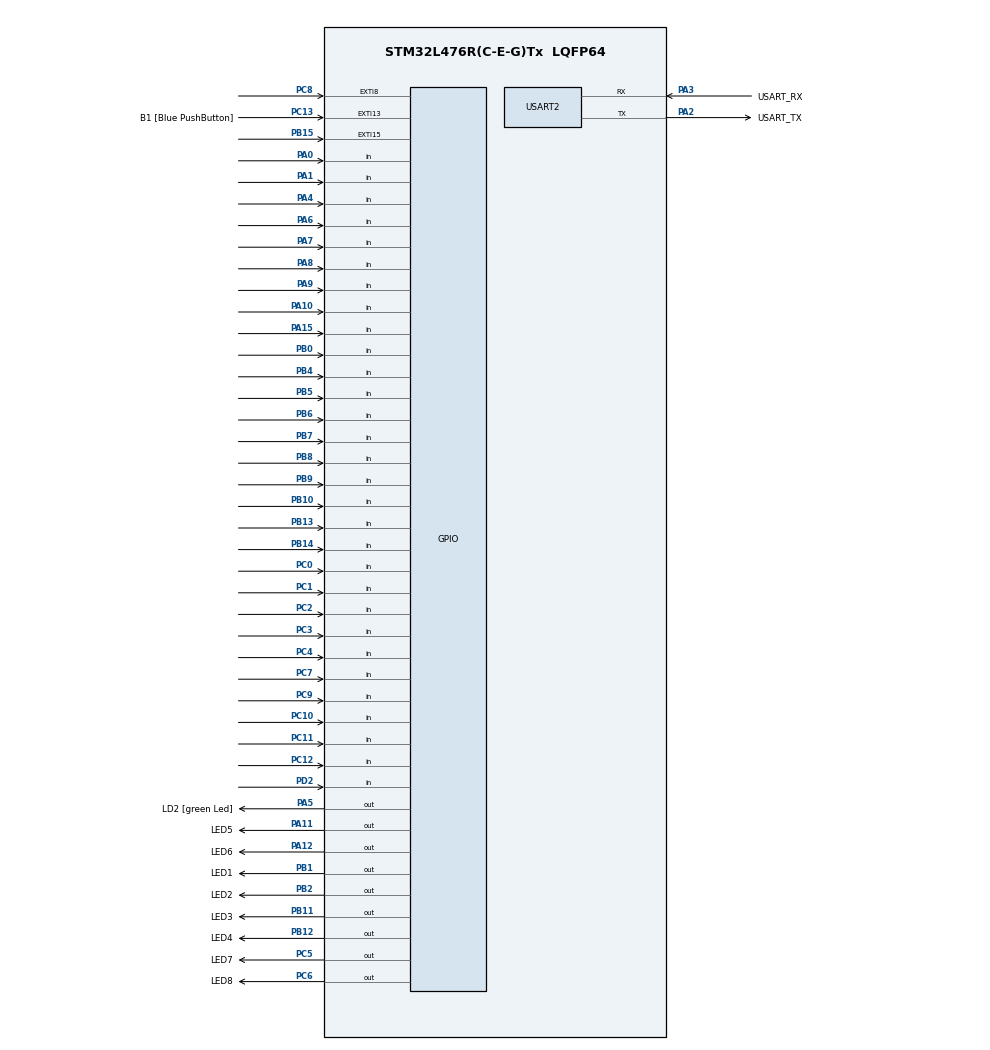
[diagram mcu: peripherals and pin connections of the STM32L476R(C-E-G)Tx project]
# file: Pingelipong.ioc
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Mcu.Family=STM32L4
Mcu.Name=STM32L476R(C-E-G)Tx
Mcu.Package=LQFP64
NVIC.EXTI15_10_IRQn=true\:0\:0\:false\:false\:true\:true\:true\:true
NVIC.EXTI9_5_IRQn=true\:0\:0\:false\:false\:true\:true\:true\:true
NVIC.PriorityGroup=NVIC_PRIORITYGROUP_4
PA0.Signal=GPIO_Input
PA1.Signal=GPIO_Input
PA10.Signal=GPIO_Input
PA11.GPIO_Label=LED5
PA11.Signal=GPIO_Output
PA12.GPIO_Label=LED6
PA12.Signal=GPIO_Output
PA13\ (JTMS-SWDIO).GPIO_Label=TMS
PA13\ (JTMS-SWDIO).Mode=Serial_Wire
PA13\ (JTMS-SWDIO).Signal=SYS_JTMS-SWDIO
PA14\ (JTCK-SWCLK).GPIO_Label=TCK
PA14\ (JTCK-SWCLK).Mode=Serial_Wire
PA14\ (JTCK-SWCLK).Signal=SYS_JTCK-SWCLK
PA15\ (JTDI).Signal=GPIO_Input
PA2.GPIO_Label=USART_TX
PA2.GPIO_Mode=GPIO_MODE_AF_PP
PA2.GPIO_PuPd=GPIO_NOPULL
PA2.GPIO_Speed=GPIO_SPEED_FREQ_VERY_HIGH
PA2.Mode=Asynchronous
PA2.Signal=USART2_TX
PA3.GPIO_Label=USART_RX
PA3.GPIO_Mode=GPIO_MODE_AF_PP
PA3.GPIO_PuPd=GPIO_NOPULL
PA3.GPIO_Speed=GPIO_SPEED_FREQ_VERY_HIGH
PA3.Mode=Asynchronous
PA3.Signal=USART2_RX
PA4.Signal=GPIO_Input
PA5.GPIO_Label=LD2 [green Led]
PA5.GPIO_ModeDefaultOutputPP=GPIO_MODE_OUTPUT_PP
PA5.GPIO_PuPd=GPIO_NOPULL
PA5.GPIO_Speed=GPIO_SPEED_FREQ_LOW
PA5.Signal=GPIO_Output
PA6.Signal=GPIO_Input
PA7.Signal=GPIO_Input
PA8.Signal=GPIO_Input
PA9.Signal=GPIO_Input
PB0.Signal=GPIO_Input
PB1.GPIO_Label=LED1
PB1.Signal=GPIO_Output
PB10.Signal=GPIO_Input
PB11.GPIO_Label=LED3
PB11.Signal=GPIO_Output
PB12.GPIO_Label=LED4
PB12.Signal=GPIO_Output
PB13.Signal=GPIO_Input
PB14.Signal=GPIO_Input
PB15.GPIO_ModeDefaultEXTI=GPIO_MODE_IT_FALLING
PB15.GPIO_PuPd=GPIO_PULLUP
PB15.Signal=GPXTI15
PB2.GPIO_Label=LED2
PB2.Signal=GPIO_Output
PB3\ (JTDO-TRACESWO).GPIO_Label=SWO
PB3\ (JTDO-TRACESWO).Signal=SYS_JTDO-SWO
PB4\ (NJTRST).Signal=GPIO_Input
PB5.Signal=GPIO_Input
PB6.Signal=GPIO_Input
PB7.Signal=GPIO_Input
PB8.Signal=GPIO_Input
PB9.Signal=GPIO_Input
PC0.Signal=GPIO_Input
PC1.Signal=GPIO_Input
PC10.Signal=GPIO_Input
PC11.Signal=GPIO_Input
PC12.Signal=GPIO_Input
PC13.GPIO_Label=B1 [Blue PushButton]
PC13.GPIO_ModeDefaultEXTI=GPIO_MODE_IT_FALLING
PC13.GPIO_PuPd=GPIO_NOPULL
PC13.Signal=GPXTI13
PC14-OSC32_IN\ (PC14).Mode=LSE-External-Oscillator
PC14-OSC32_IN\ (PC14).Signal=RCC_OSC32_IN
PC15-OSC32_OUT\ (PC15).Mode=LSE-External-Oscillator
PC15-OSC32_OUT\ (PC15).Signal=RCC_OSC32_OUT
PC2.Signal=GPIO_Input
PC3.Signal=GPIO_Input
PC4.Signal=GPIO_Input
PC5.GPIO_Label=LED7
PC5.Signal=GPIO_Output
PC6.GPIO_Label=LED8
PC6.Signal=GPIO_Output
PC7.Signal=GPIO_Input
PC8.GPIO_PuPd=GPIO_PULLUP
PC8.Signal=GPXTI8
PC9.Signal=GPIO_Input
PD2.Signal=GPIO_Input
PH0-OSC_IN\ (PH0).Signal=RCC_OSC_IN
PH1-OSC_OUT\ (PH1).Signal=RCC_OSC_OUT
ProjectManager.HeapSize=0x200
ProjectManager.StackSize=0x400
ProjectManager.TargetToolchain=STM32CubeIDE
RCC.ADCFreq_Value=64000000
RCC.AHBFreq_Value=80000000
RCC.APB1Freq_Value=80000000
RCC.APB1TimFreq_Value=80000000
RCC.APB2Freq_Value=80000000
RCC.APB2TimFreq_Value=80000000
RCC.CortexFreq_Value=80000000
RCC.HCLKFreq_Value=80000000
RCC.HSE_VALUE=8000000
RCC.HSI_VALUE=16000000
RCC.MSI_VALUE=4000000
RCC.PLLN=10
RCC.PLLSourceVirtual=RCC_PLLSOURCE_HSI
RCC.PREFETCH_ENABLE=1
RCC.SYSCLKFreq_VALUE=80000000
RCC.SYSCLKSource=RCC_SYSCLKSOURCE_PLLCLK
RCC.USBFreq_Value=64000000
RCC.VCOOutputFreq_Value=160000000
USART2.VirtualMode-Asynchronous=VM_ASYNC
board=NUCLEO-L476RG

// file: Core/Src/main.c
/* USER CODE BEGIN Header */
/**
  ******************************************************************************
  * @file           : main.c
  * @brief          : Main program body
  ******************************************************************************
  * @attention
  *
  * Copyright (c) 2025 STMicroelectronics.
  * All rights reserved.
  *
  * This software is licensed under terms that can be found in the LICENSE file
  * in the root directory of this software component.
  * If no LICENSE file comes with this software, it is provided AS-IS.
  *
  ******************************************************************************
  */
/* USER CODE END Header */
#include "main.h"
#include "usart.h"
#include "gpio.h"
#include "clock.h"
#include "Test.h"

/* USER CODE BEGIN PD */
#undef RUN_TEST_PROGRAM
#define USE_INTERRUPT_BUTTONS
/* USER CODE END PD */

void SystemClock_Config(void);

/* USER CODE BEGIN 0 */
#ifdef RUN_TEST_PROGRAM

extern void initialise_monitor_handles(void);
#endif
/* USER CODE END 0 */

int main(void)
{

  /* MCU Configuration--------------------------------------------------------*/

  /* Reset of all peripherals, Initializes the Flash interface and the Systick. */
  HAL_Init();

  /* Configure the system clock */
  SystemClock_Config();

  /* Initialize all configured peripherals */
  MX_GPIO_Init();
  MX_USART2_UART_Init();
  /* USER CODE BEGIN 2 */
#ifdef RUN_TEST_PROGRAM
    //initialise_monitor_handles();   // bara om du vill kunna printf:a i test
    Test_program();                 // <-- kör TEST-programmet
#else
    Pingpong();                     // <-- kör färdiga pingpongprogrammet
#endif
  /* USER CODE END 2 */

  /* Infinite loop */
  while (1)
  {

    /* USER CODE BEGIN 3 */

	    HAL_GPIO_WritePin(LED1_GPIO_Port, LED1_Pin, GPIO_PIN_SET);
	    HAL_Delay(200);
	    HAL_GPIO_WritePin(LED1_GPIO_Port, LED1_Pin, GPIO_PIN_RESET);
	    HAL_Delay(200);

	    HAL_GPIO_WritePin(LED2_GPIO_Port, LED2_Pin, GPIO_PIN_SET);
	    HAL_Delay(200);
	    HAL_GPIO_WritePin(LED2_GPIO_Port, LED2_Pin, GPIO_PIN_RESET);
	    HAL_Delay(200);

	    HAL_GPIO_WritePin(LED3_GPIO_Port, LED3_Pin, GPIO_PIN_SET);
	    HAL_Delay(200);
	    HAL_GPIO_WritePin(LED3_GPIO_Port, LED3_Pin, GPIO_PIN_RESET);
	    HAL_Delay(200);

  }
  /* USER CODE END 3 */
}

//void SystemClock_Config(void)
//{
//  RCC_OscInitTypeDef RCC_OscInitStruct = {0};
//  RCC_ClkInitTypeDef RCC_ClkInitStruct = {0};
//
//  /** Configure the main internal regulator output voltage
//  */
//  if (HAL_PWREx_ControlVoltageScaling(PWR_REGULATOR_VOLTAGE_SCALE1) != HAL_OK)
//  {
//    Error_Handler();
//  }
//
//  /** Initializes the RCC Oscillators according to the specified parameters
//  * in the RCC_OscInitTypeDef structure.
//  */
//  RCC_OscInitStruct.OscillatorType = RCC_OSCILLATORTYPE_HSI;
//  RCC_OscInitStruct.HSIState = RCC_HSI_ON;
//  RCC_OscInitStruct.HSICalibrationValue = RCC_HSICALIBRATION_DEFAULT;
//  RCC_OscInitStruct.PLL.PLLState = RCC_PLL_ON;
//  RCC_OscInitStruct.PLL.PLLSource = RCC_PLLSOURCE_HSI;
//  RCC_OscInitStruct.PLL.PLLM = 1;
//  RCC_OscInitStruct.PLL.PLLN = 10;
//  RCC_OscInitStruct.PLL.PLLP = RCC_PLLP_DIV7;
//  RCC_OscInitStruct.PLL.PLLQ = RCC_PLLQ_DIV2;
//  RCC_OscInitStruct.PLL.PLLR = RCC_PLLR_DIV2;
//  if (HAL_RCC_OscConfig(&RCC_OscInitStruct) != HAL_OK)
//  {
//    Error_Handler();
//  }
//
//  /** Initializes the CPU, AHB and APB buses clocks
//  */
//  RCC_ClkInitStruct.ClockType = RCC_CLOCKTYPE_HCLK|RCC_CLOCKTYPE_SYSCLK
//                              |RCC_CLOCKTYPE_PCLK1|RCC_CLOCKTYPE_PCLK2;
//  RCC_ClkInitStruct.SYSCLKSource = RCC_SYSCLKSOURCE_PLLCLK;
//  RCC_ClkInitStruct.AHBCLKDivider = RCC_SYSCLK_DIV1;
//  RCC_ClkInitStruct.APB1CLKDivider = RCC_HCLK_DIV1;
//  RCC_ClkInitStruct.APB2CLKDivider = RCC_HCLK_DIV1;
//
//  if (HAL_RCC_ClockConfig(&RCC_ClkInitStruct, FLASH_LATENCY_4) != HAL_OK)
//  {
//    Error_Handler();
//  }
//}

void Error_Handler(void)
{
  __disable_irq();
  while (1)
  {
  }
}
